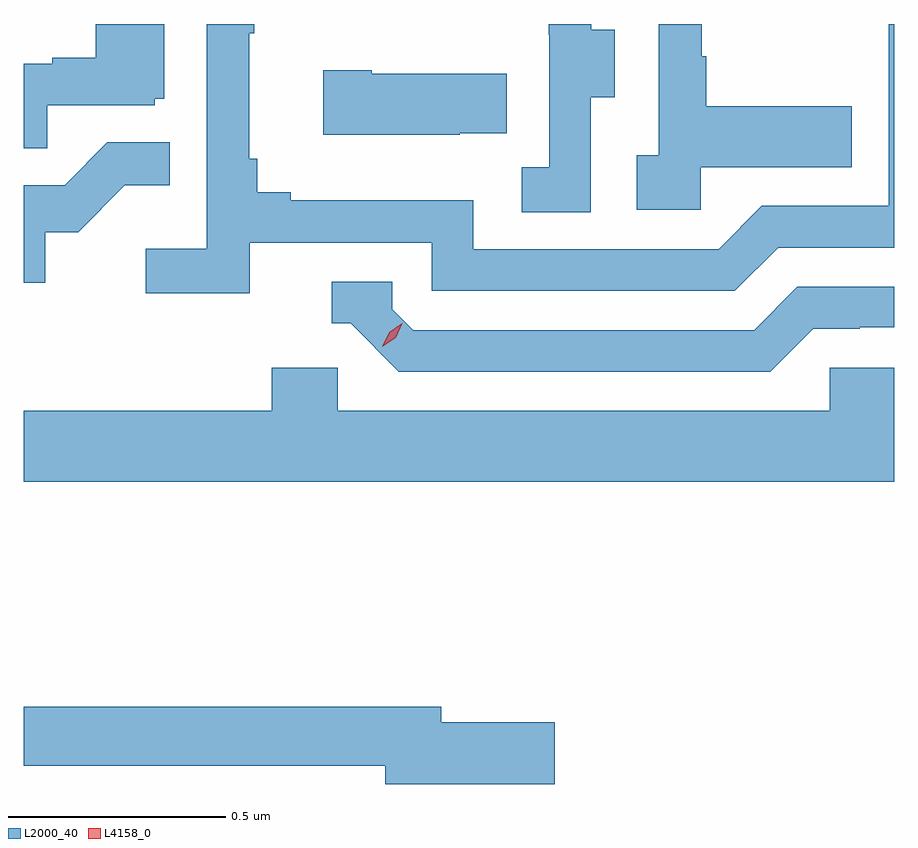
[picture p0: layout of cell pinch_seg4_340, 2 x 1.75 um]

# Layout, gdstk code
import gdstk
lib = gdstk.Library(unit=1e-6, precision=1e-09)
def P(c, l, *ps):  # polygons
    for p in ps: c.add(gdstk.Polygon(p, *l))
L2000_40 = (2000, 40)
L4158_0 = (4158, 0)

pinch_seg4_340 = lib.new_cell('pinch_seg4_340')
P(pinch_seg4_340, L2000_40, [(1013.294,810.69),(1013.712,810.69),(1013.712,810.579),(1014.409,810.579),(1014.508,810.678),(1014.775,810.678),(1014.775,811.192),(1014.762,811.192),(1014.762,810.774),(1014.471,810.774),(1014.372,810.675),(1013.808,810.675),(1013.808,810.787),(1013.389,810.787),(1013.389,810.806),(1013.312,810.806),(1013.312,810.883),(1013.293,810.883),(1013.293,811.171),(1013.305,811.171),(1013.305,811.192),(1013.196,811.192),(1013.196,810.676),(1013.055,810.676),(1013.055,810.574),(1013.294,810.574)],
  [(1014.078,811.024),(1014.133,811.024),(1014.133,811.179),(1014.079,811.179),(1014.079,811.192),(1013.981,811.192),(1013.981,811.167),(1013.982,811.167),(1013.982,810.863),(1013.919,810.863),(1013.919,810.76),(1014.078,810.76)],
  [(1014.33,810.863),(1014.677,810.863),(1014.677,811.003),(1014.343,811.003),(1014.343,811.118),(1014.333,811.118),(1014.333,811.192),(1014.234,811.192),(1014.234,810.89),(1014.183,810.89),(1014.183,810.765),(1014.33,810.765)],
  [(1012.829,811.005),(1013.076,811.005),(1013.076,811.02),(1013.098,811.02),(1013.098,811.192),(1012.94,811.192),(1012.94,811.114),(1012.841,811.114),(1012.841,811.101),(1012.775,811.101),(1012.775,810.907),(1012.829,810.907)],
  [(1013.777,810.941),(1013.885,810.941),(1013.885,811.078),(1013.575,811.078),(1013.575,811.086),(1013.463,811.086),(1013.463,810.938),(1013.777,810.938)],
  [(1012.824,810.714),(1012.9,810.714),(1013.007,810.821),(1013.111,810.821),(1013.111,810.92),(1012.967,810.92),(1012.869,810.822),(1012.775,810.822),(1012.775,810.597),(1012.824,810.597)],
  [(1014.589,810.492),(1014.696,810.492),(1014.696,810.495),(1014.775,810.495),(1014.775,810.588),(1014.552,810.588),(1014.453,810.489),(1013.67,810.489),(1013.622,810.537),(1013.622,810.6),(1013.483,810.6),(1013.483,810.504),(1013.526,810.504),(1013.637,810.393),(1014.49,810.393)],
  [(1014.775,810.402),(1014.627,810.402),(1014.627,810.304),(1013.496,810.304),(1013.496,810.402),(1013.345,810.402),(1013.345,810.304),(1012.775,810.304),(1012.775,810.14),(1014.775,810.14)],
  [(1013.995,809.588),(1013.734,809.588),(1013.734,809.624),(1012.775,809.624),(1012.775,809.488),(1013.606,809.488),(1013.606,809.446),(1013.995,809.446)])
P(pinch_seg4_340, L4158_0, [(1013.599,810.451),(1013.599,810.451),(1013.615,810.484),(1013.645,810.504),(1013.645,810.504),(1013.645,810.504),(1013.63,810.471),(1013.599,810.451)])

lib.write_gds('pinch_seg4_340.gds')
